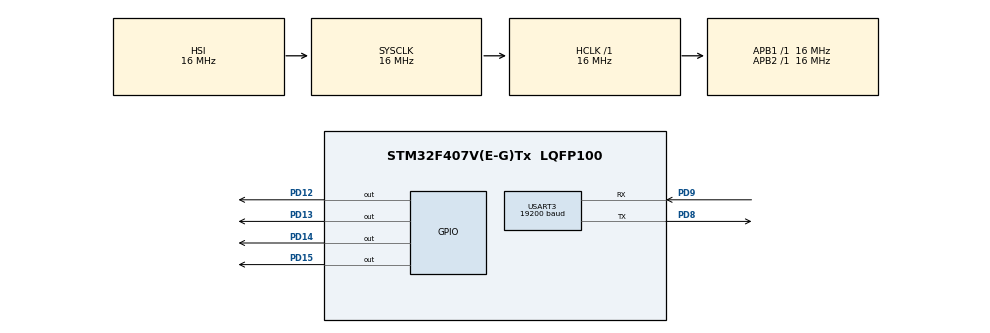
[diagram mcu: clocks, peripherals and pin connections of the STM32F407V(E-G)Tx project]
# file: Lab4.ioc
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Mcu.Family=STM32F4
Mcu.Name=STM32F407V(E-G)Tx
Mcu.Package=LQFP100
NVIC.PriorityGroup=NVIC_PRIORITYGROUP_4
PD12.Signal=GPIO_Output
PD13.Signal=GPIO_Output
PD14.Signal=GPIO_Output
PD15.Signal=GPIO_Output
PD8.Mode=Asynchronous
PD8.Signal=USART3_TX
PD9.Mode=Asynchronous
PD9.Signal=USART3_RX
ProjectManager.HeapSize=0x200
ProjectManager.StackSize=0x400
ProjectManager.TargetToolchain=STM32CubeIDE
RCC.AHBFreq_Value=16000000
RCC.APB1Freq_Value=16000000
RCC.APB2Freq_Value=16000000
RCC.CortexFreq_Value=16000000
RCC.HSE_VALUE=25000000
RCC.HSI_VALUE=16000000
RCC.LSE_VALUE=32768
RCC.SYSCLKFreq_VALUE=16000000
RCC.VCOOutputFreq_Value=192000000
USART3.BaudRate=19200
USART3.VirtualMode=VM_ASYNC
board=custom

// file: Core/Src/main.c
/* USER CODE BEGIN Header */
/**
  ******************************************************************************
  * @file           : main.c
  * @brief          : Main program body
  ******************************************************************************
  * @attention
  *
  * Copyright (c) 2024 STMicroelectronics.
  * All rights reserved.
  *
  * This software is licensed under terms that can be found in the LICENSE file
  * in the root directory of this software component.
  * If no LICENSE file comes with this software, it is provided AS-IS.
  *
  ******************************************************************************
  */
/* USER CODE END Header */
#include "main.h"

UART_HandleTypeDef huart3;

void SystemClock_Config(void);
static void MX_GPIO_Init(void);
static void MX_USART3_UART_Init(void);

int main(void)
{

  /* MCU Configuration--------------------------------------------------------*/

  /* Reset of all peripherals, Initializes the Flash interface and the Systick. */
  HAL_Init();

  /* Configure the system clock */
  SystemClock_Config();

  /* Initialize all configured peripherals */
  MX_GPIO_Init();
  MX_USART3_UART_Init();
  /* USER CODE BEGIN 2 */
  uint8_t buffer[1];
  /* USER CODE END 2 */

  /* Infinite loop */
  /* USER CODE BEGIN WHILE */
  while (1)
  {
	if (HAL_UART_Receive(&huart3, buffer, 1, 10) == HAL_OK) {
	  switch (buffer[0]){
	    case '1':
		  if (HAL_GPIO_ReadPin(GPIOD, GPIO_PIN_12) == GPIO_PIN_RESET) {
			HAL_GPIO_WritePin(GPIOD, GPIO_PIN_12, GPIO_PIN_SET);
		    HAL_UART_Transmit(&huart3, (uint8_t *)"green on\r\n", 10, 100);
		  } else {
			HAL_GPIO_WritePin(GPIOD, GPIO_PIN_12, GPIO_PIN_RESET);
			HAL_UART_Transmit(&huart3, (uint8_t *)"green off\r\n", 11, 100);
		  }
		  break;
		case '2':
		  if (HAL_GPIO_ReadPin(GPIOD, GPIO_PIN_13) == GPIO_PIN_RESET) {
			HAL_GPIO_WritePin(GPIOD, GPIO_PIN_13, GPIO_PIN_SET);
			HAL_UART_Transmit(&huart3, (uint8_t *)"orange on\r\n", 11, 100);
		  } else {
			HAL_GPIO_WritePin(GPIOD, GPIO_PIN_13, GPIO_PIN_RESET);
			HAL_UART_Transmit(&huart3, (uint8_t *)"orange off\r\n", 12, 100);
		  }
		  break;
		case '3':
		  if (HAL_GPIO_ReadPin(GPIOD, GPIO_PIN_14) == GPIO_PIN_RESET) {
			HAL_GPIO_WritePin(GPIOD, GPIO_PIN_14, GPIO_PIN_SET);
			HAL_UART_Transmit(&huart3, (uint8_t *)"red on\r\n", 8, 100);
		  } else {
			HAL_GPIO_WritePin(GPIOD, GPIO_PIN_14, GPIO_PIN_RESET);
			HAL_UART_Transmit(&huart3, (uint8_t *)"red off\r\n", 9, 100);
		  }
		  break;
		case '4':
		  if (HAL_GPIO_ReadPin(GPIOD, GPIO_PIN_15) == GPIO_PIN_RESET) {
			HAL_GPIO_WritePin(GPIOD, GPIO_PIN_15, GPIO_PIN_SET);
			HAL_UART_Transmit(&huart3, (uint8_t *)"blue on\r\n", 9, 100);
		  } else {
			HAL_GPIO_WritePin(GPIOD, GPIO_PIN_15, GPIO_PIN_RESET);
			HAL_UART_Transmit(&huart3, (uint8_t *)"blue off\r\n", 10, 100);
		  }
		  break;
		case '5':
			HAL_GPIO_WritePin(GPIOD, GPIO_PIN_12, GPIO_PIN_SET);
			HAL_GPIO_WritePin(GPIOD, GPIO_PIN_13, GPIO_PIN_SET);
			HAL_GPIO_WritePin(GPIOD, GPIO_PIN_14, GPIO_PIN_SET);
			HAL_GPIO_WritePin(GPIOD, GPIO_PIN_15, GPIO_PIN_SET);
			HAL_UART_Transmit(&huart3, (uint8_t *)"all on\r\n", 8, 100);
			break;
		case '6':
			HAL_GPIO_WritePin(GPIOD, GPIO_PIN_12, GPIO_PIN_RESET);
			HAL_GPIO_WritePin(GPIOD, GPIO_PIN_13, GPIO_PIN_RESET);
			HAL_GPIO_WritePin(GPIOD, GPIO_PIN_14, GPIO_PIN_RESET);
			HAL_GPIO_WritePin(GPIOD, GPIO_PIN_15, GPIO_PIN_RESET);
			HAL_UART_Transmit(&huart3, (uint8_t *)"all off\r\n", 9, 100);
			break;
		default:
			HAL_UART_Transmit(&huart3, (uint8_t *)" - UNKNOWN\r\n", 12, 100);
			break;
	  }
	}
    /* USER CODE END WHILE */

  }
}

void SystemClock_Config(void)
{
  RCC_OscInitTypeDef RCC_OscInitStruct = {0};
  RCC_ClkInitTypeDef RCC_ClkInitStruct = {0};

  /** Configure the main internal regulator output voltage
  */
  __HAL_RCC_PWR_CLK_ENABLE();
  __HAL_PWR_VOLTAGESCALING_CONFIG(PWR_REGULATOR_VOLTAGE_SCALE1);

  /** Initializes the RCC Oscillators according to the specified parameters
  * in the RCC_OscInitTypeDef structure.
  */
  RCC_OscInitStruct.OscillatorType = RCC_OSCILLATORTYPE_HSI;
  RCC_OscInitStruct.HSIState = RCC_HSI_ON;
  RCC_OscInitStruct.HSICalibrationValue = RCC_HSICALIBRATION_DEFAULT;
  RCC_OscInitStruct.PLL.PLLState = RCC_PLL_NONE;
  if (HAL_RCC_OscConfig(&RCC_OscInitStruct) != HAL_OK)
  {
    Error_Handler();
  }

  /** Initializes the CPU, AHB and APB buses clocks
  */
  RCC_ClkInitStruct.ClockType = RCC_CLOCKTYPE_HCLK|RCC_CLOCKTYPE_SYSCLK
                              |RCC_CLOCKTYPE_PCLK1|RCC_CLOCKTYPE_PCLK2;
  RCC_ClkInitStruct.SYSCLKSource = RCC_SYSCLKSOURCE_HSI;
  RCC_ClkInitStruct.AHBCLKDivider = RCC_SYSCLK_DIV1;
  RCC_ClkInitStruct.APB1CLKDivider = RCC_HCLK_DIV1;
  RCC_ClkInitStruct.APB2CLKDivider = RCC_HCLK_DIV1;

  if (HAL_RCC_ClockConfig(&RCC_ClkInitStruct, FLASH_LATENCY_0) != HAL_OK)
  {
    Error_Handler();
  }
}

static void MX_USART3_UART_Init(void)
{

  huart3.Instance = USART3;
  huart3.Init.BaudRate = 19200;
  huart3.Init.WordLength = UART_WORDLENGTH_8B;
  huart3.Init.StopBits = UART_STOPBITS_1;
  huart3.Init.Parity = UART_PARITY_NONE;
  huart3.Init.Mode = UART_MODE_TX_RX;
  huart3.Init.HwFlowCtl = UART_HWCONTROL_NONE;
  huart3.Init.OverSampling = UART_OVERSAMPLING_16;
  if (HAL_UART_Init(&huart3) != HAL_OK)
  {
    Error_Handler();
  }

}

static void MX_GPIO_Init(void)
{
  GPIO_InitTypeDef GPIO_InitStruct = {0};

  /* GPIO Ports Clock Enable */
  __HAL_RCC_GPIOD_CLK_ENABLE();

  /*Configure GPIO pin Output Level */
  HAL_GPIO_WritePin(GPIOD, GPIO_PIN_12|GPIO_PIN_13|GPIO_PIN_14|GPIO_PIN_15, GPIO_PIN_RESET);

  /*Configure GPIO pins : PD12 PD13 PD14 PD15 */
  GPIO_InitStruct.Pin = GPIO_PIN_12|GPIO_PIN_13|GPIO_PIN_14|GPIO_PIN_15;
  GPIO_InitStruct.Mode = GPIO_MODE_OUTPUT_PP;
  GPIO_InitStruct.Pull = GPIO_NOPULL;
  GPIO_InitStruct.Speed = GPIO_SPEED_FREQ_LOW;
  HAL_GPIO_Init(GPIOD, &GPIO_InitStruct);

}

void Error_Handler(void)
{
  __disable_irq();
  while (1)
  {
  }
}
